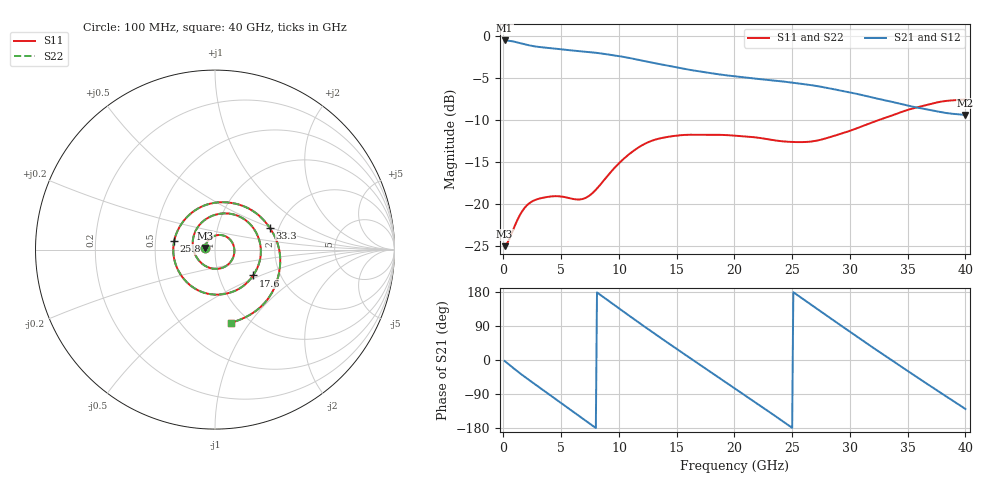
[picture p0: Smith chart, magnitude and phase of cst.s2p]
! D_s8_stitch_none: L1 (ref L2) → L8 (ref L7), no stitching via
! stackup: 8-layer 1.6 mm FR-4 (generic)
! ports: 1, 2
! CST Studio Suite 2025.5 Release from 2025-05-30, time domain (FIT, hexahedral, PBA), 224640 mesh cells, 46 s
! mesh: {'lpw': 20, 'lpb': 20, 'minstep': 0.0, 'ratio': 20}; ports: port 1 (face); port 2 (face)
! interpolated from CST's 1001 samples to the case grid
# Hz S RI R 50
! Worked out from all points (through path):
!   400 points, 100 MHz to 40 GHz, reference 50 ohm
!   highest |S21| = -0.58 dB at 100 MHz (marker M1); lowest = -9.5 dB at 40 GHz (marker M2)
!   group delay of S21, straight-line fit = 58.7 ps
!   lowest |S11| = -25.1 dB at 100 MHz (marker M3), VSWR 1.12, Z = 44.8 + j0.841 ohm
!   |S11| at or under -10 dB: start of sweep to 32.61 GHz
!   |S22| runs from -25.1 to -7.6 dB; largest |S21 - S12| = 2.2e-07
!   S11 on the Smith chart (normalised r, x): 100 MHz: 0.90, +0.02; 17.6 GHz: 1.46, -0.45; 25.8 GHz: 0.63, +0.06; 33.3 GHz: 1.79, +0.49; 40 GHz: 0.83, -0.82
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1e8  -0.0551 0.00936  0.9343 -0.0411  0.9343 -0.0411  -0.0551 0.00936
1.7e9  0.048 0.0782  0.6713 -0.5879  0.6713 -0.5879  0.048 0.0782
3.4e9  0.108 -0.00913  0.17 -0.8336  0.17 -0.8336  0.108 -0.00913
5e9  0.0583 -0.0937  -0.3319 -0.7591  -0.3319 -0.7591  0.0583 -0.0937
6.8e9  -0.0707 -0.0795  -0.7177 -0.3662  -0.7177 -0.3662  -0.0707 -0.0795
8.5e9  -0.1238 0.0472  -0.7684 0.1441  -0.7684 0.1441  -0.1238 0.0472
1.05e10  -0.0212 0.1859  -0.4307 0.6072  -0.4307 0.6072  -0.0212 0.1859
1.19e10  0.0989 0.1969  -0.0605 0.7097  -0.0605 0.7097  0.0989 0.1969
1.34e10  0.204 0.1322  0.3091 0.6045  0.3091 0.6045  0.204 0.1322
1.55e10  0.2557 -0.0111  0.602 0.2055  0.602 0.2055  0.2557 -0.0111
1.76e10  0.2123 -0.1442  0.5479 -0.2515  0.5479 -0.2515  0.2123 -0.1442
2.01e10  0.0732 -0.2428  0.1362 -0.5552  0.1362 -0.5552  0.0731 -0.2428
2.16e10  -0.042 -0.2453  -0.1664 -0.5307  -0.1664 -0.5307  -0.0421 -0.2453
2.33e10  -0.167 -0.1712  -0.432 -0.3264  -0.432 -0.3264  -0.167 -0.1711
2.58e10  -0.2272 0.0489  -0.4963 0.142  -0.4963 0.142  -0.2272 0.0489
2.67e10  -0.1953 0.1298  -0.4138 0.292  -0.4138 0.292  -0.1953 0.1298
2.96e10  0.0309 0.2638  0.0564 0.4619  0.0564 0.4619  0.0309 0.2638
3.15e10  0.1917 0.2269  0.3181 0.2963  0.3181 0.2963  0.1918 0.2269
3.33e10  0.3046 0.1221  0.4063 0.0411  0.4063 0.0411  0.3047 0.1221
3.34e10  0.3094 0.115  0.4061 0.0263  0.4061 0.0263  0.3094 0.115
3.68e10  0.3411 -0.1872  0.1519 -0.3297  0.1519 -0.3297  0.3411 -0.1873
4e10  0.0885 -0.4071  -0.2136 -0.2605  -0.2136 -0.2605  0.0885 -0.4071
